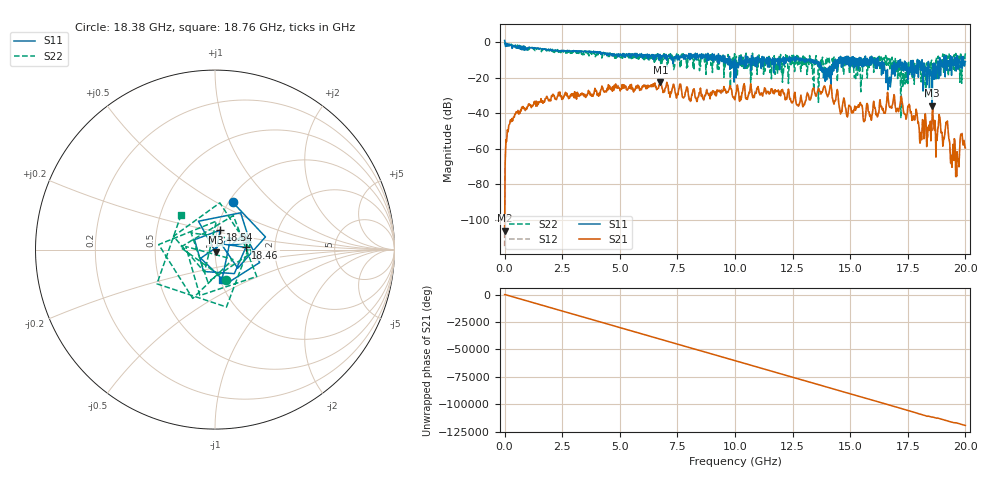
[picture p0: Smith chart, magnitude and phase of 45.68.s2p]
! Created with skrf 1.9.0 (http://scikit-rf.org).
# Hz S RI R 50.0
!freq ReS11 ImS11 ReS21 ImS21 ReS12 ImS12 ReS22 ImS22
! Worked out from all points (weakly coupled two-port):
!   1001 points, 1 MHz to 20 GHz, reference 50 ohm
!   highest |S21| = -22.30 dB at 6.761 GHz (marker M1); lowest = -106.1 dB at 1 MHz (marker M2)
!   lowest |S11| = -35.6 dB at 18.56 GHz (marker M3), VSWR 1.03, Z = 50.4 - j1.61 ohm
!   |S11| at or under -10 dB: 13.42 GHz to 14.32 GHz (896 MHz wide, 6.46 % of centre); 16.22 GHz to 17.16 GHz (939.1 MHz wide, 5.63 % of centre); 18.12 GHz to 18.87 GHz (751.1 MHz wide, 4.06 % of centre) (the widest 3 of 102)
!   |S22| runs from -42.7 to -0.2 dB; largest |S21 - S12| = 0.0079
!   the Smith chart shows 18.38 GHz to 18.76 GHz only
!   S11 on the Smith chart (normalised r, x): 18.38 GHz: 1.04, +0.60; 18.46 GHz: 1.41, +0.03; 18.54 GHz: 1.03, +0.23; 18.76 GHz: 1.02, -0.36
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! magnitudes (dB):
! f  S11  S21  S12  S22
! 1 MHz  1.1  -106.1  -114.8  -0.2
! 161 MHz  -2.1  -49.4  -49.4  -1.8
! 481 MHz  -2.0  -40.3  -39.9  -2.6
! 3.341 GHz  -4.8  -28.7  -28.9  -6.7
! 6.681 GHz  -7.4  -25.8  -25.4  -8.3
! 6.761 GHz  -9.1  -22.3  -22.5  -10.0
! 10 GHz  -9.5  -32.3  -32.8  -7.2
! 13.34 GHz  -10.9  -28.7  -28.3  -14.7
! 13.94 GHz  -14.6  -27.3  -27.5  -9.9
! 15.6 GHz  -9.1  -44.7  -44.7  -13.2
! 16.68 GHz  -23.0  -35.3  -35.3  -9.2
! 17.28 GHz  -11.8  -35.7  -35.8  -25.5
! 18.38 GHz  -11.0  -47.8  -47.6  -14.9
! 18.46 GHz  -15.3  -49.5  -48.9  -11.4
! 18.54 GHz  -19.0  -49.7  -49.5  -10.0
! 18.56 GHz  -35.6  -39.8  -39.9  -16.0
! 18.76 GHz  -15.2  -55.4  -55.3  -11.4
! 19.2 GHz  -15.7  -45.5  -45.1  -10.2
! 19.4 GHz  -18.6  -63.9  -63.4  -9.1
! 19.66 GHz  -12.4  -66.9  -67.1  -9.8
! 19.86 GHz  -14.6  -51.7  -51.2  -8.3
! 20 GHz  -10.8  -59.5  -58.8  -6.1
